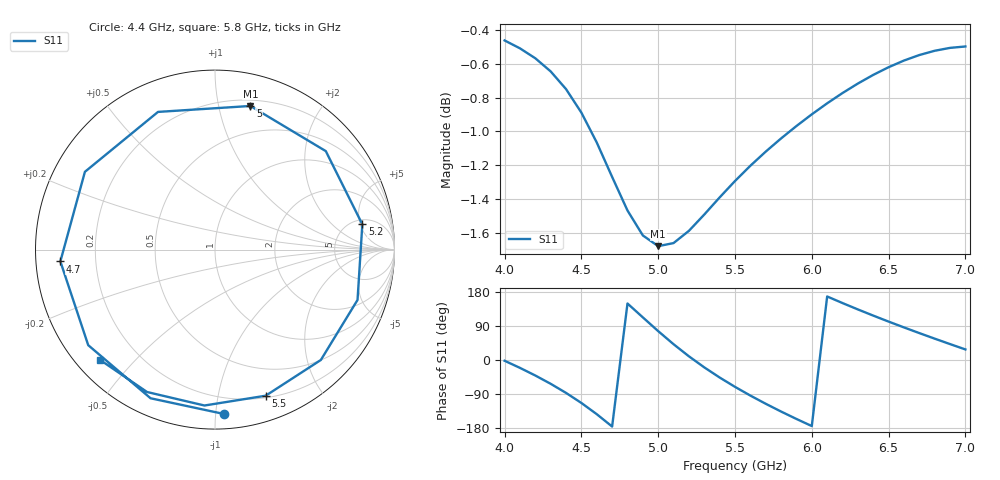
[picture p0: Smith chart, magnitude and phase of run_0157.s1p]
! Touchstone file exported from HFSS 2024.2.0
!  File:  C:/Users/wsak9/Desktop/Sim Fast/Widenad Patch/WP_AI_V1_sweep.aedt
!  Generated:  09:26:42 PM Oct 13, 2026
!  Design:  A1_model
!  Project:  WP_AI_V1_sweep
!  Setup:  Setup1
!  Solution:  Sweep
! Variables:
!  Air_gap = 2.26mm
!  Curve_Amp1 = 1.05
!  Curve_len1 = 1
!  Curve_pos = 12.06mm
!  Extra = 0.78mm
!  H_sub = 0.79mm
!  L_Patch = 20.12mm
!  L_Patch1 = 9.79mm
!  Sx = 4mm
!  Sy = 1.3mm
!  WS = 1.42mm
!  W_Patch = 11.5mm
!  W_Patch1 = 9.01mm
!Data is not renormalized
# GHz S MA
! Terminal data exported
! Port[1] = 1
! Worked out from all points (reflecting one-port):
!   31 points, 4 GHz to 7 GHz, reference per port
!   lowest |S11| = -1.7 dB at 5 GHz (marker M1), VSWR 10.38
!   phase of S11 starts at -2 deg and turns -690 deg over the sweep
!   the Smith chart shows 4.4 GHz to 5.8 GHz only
!   S11 on the Smith chart (normalised r, x): 4.4 GHz: 0.09, -1.05; 4.7 GHz: 0.07, -0.04; 5 GHz: 0.25, +1.25; 5.2 GHz: 5.91, +5.42; 5.5 GHz: 0.22, -1.38; 5.8 GHz: 0.07, -0.40
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4  0.9483 -2.0
4.1  0.9432 -20.8
4.2  0.9368 -41.0
4.3  0.9285 -62.8
4.4  0.9174 -86.8
4.5  0.9027 -113.4
4.6  0.8846 -143.0
4.7  0.864 -175.6
4.8  0.8445 149.1
4.9  0.8302 112.5
5  0.8242 76.1
5.1  0.8259 41.6
5.2  0.8328 9.7
5.3  0.8422 -19.5
5.4  0.852 -46.2
5.5  0.8616 -70.9
5.6  0.8706 -93.9
5.7  0.8791 -115.5
5.8  0.887 -136.0
5.9  0.8946 -155.6
6  0.9017 -174.3
6.1  0.9085 167.6
6.2  0.9149 150.3
6.3  0.9208 133.4
6.5  0.9312 101.4
6.7  0.9389 71.0
6.8  0.9417 56.4
7  0.9444 27.9
